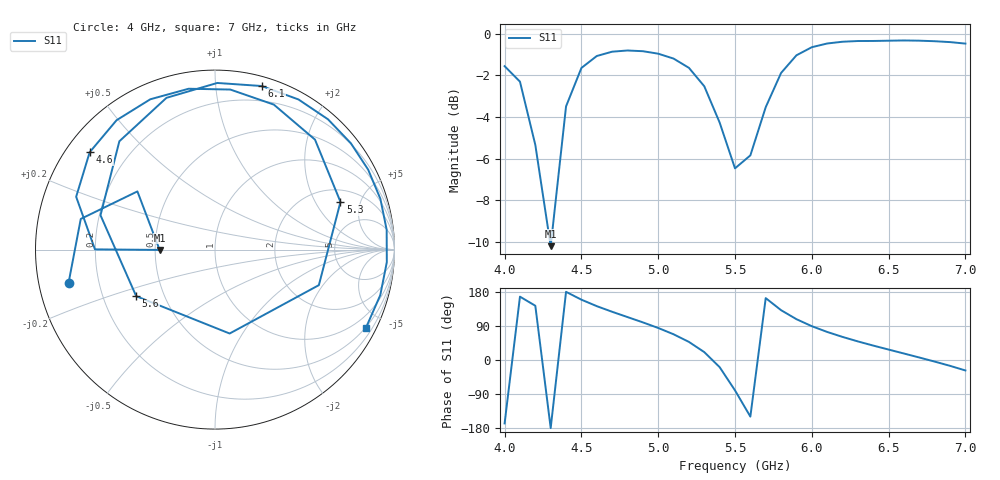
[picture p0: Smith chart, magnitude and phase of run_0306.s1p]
! Touchstone file exported from HFSS 2024.2.0
!  File:  C:/Users/wsak9/Desktop/Sim Fast/Widenad Patch/WP_AI_V1_sweep.aedt
!  Generated:  03:56:37 AM Oct 14, 2026
!  Design:  A1_model
!  Project:  WP_AI_V1_sweep
!  Setup:  Setup1
!  Solution:  Sweep
! Variables:
!  Air_gap = 4.54mm
!  Curve_Amp1 = 3.75
!  Curve_len1 = 1
!  Curve_pos = 13.3mm
!  Extra = 2.58mm
!  H_sub = 0.79mm
!  L_Patch = 22.6mm
!  L_Patch1 = 15.7mm
!  Sx = 0.79mm
!  Sy = 3.03mm
!  WS = 0.38mm
!  W_Patch = 15.21mm
!  W_Patch1 = 13.12mm
!Data is not renormalized
# GHz S MA
! Terminal data exported
! Port[1] = 1
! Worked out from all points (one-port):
!   31 points, 4 GHz to 7 GHz, reference per port
!   lowest |S11| = -10.2 dB at 4.3 GHz (marker M1), VSWR 1.89
!   |S11| at or under -10 dB: 4.295518 GHz to 4.303247 GHz (7.73 MHz wide, 0.18 % of centre)
!   S11 on the Smith chart (normalised r, x): 4 GHz: 0.09, -0.11; 4.6 GHz: 0.07, +0.34; 5.3 GHz: 2.74, +3.30; 5.6 GHz: 0.35, -0.24; 6.1 GHz: 0.07, +1.32; 7 GHz: 0.47, -4.02
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4  0.836 -167.3
4.1  0.7672 167.1
4.2  0.5404 143.1
4.3  0.3084 -179.7
4.4  0.6688 179.9
4.5  0.8277 159.2
4.6  0.8843 142.1
4.7  0.9058 127.3
4.8  0.9118 113.3
4.9  0.9082 99.3
5  0.8958 84.5
5.1  0.8718 67.9
5.2  0.8282 47.7
5.3  0.7479 20.8
5.4  0.6116 -18.9
5.5  0.4746 -80.1
5.6  0.51 -149.4
5.7  0.666 163.3
5.8  0.8051 131.4
5.9  0.8878 107.7
6  0.9285 89.2
6.1  0.9478 74.0
6.2  0.9571 60.9
6.3  0.9609 49.1
6.5  0.9626 27.6
6.7  0.9627 6.6
6.9  0.9552 -15.4
7  0.9473 -27.6
